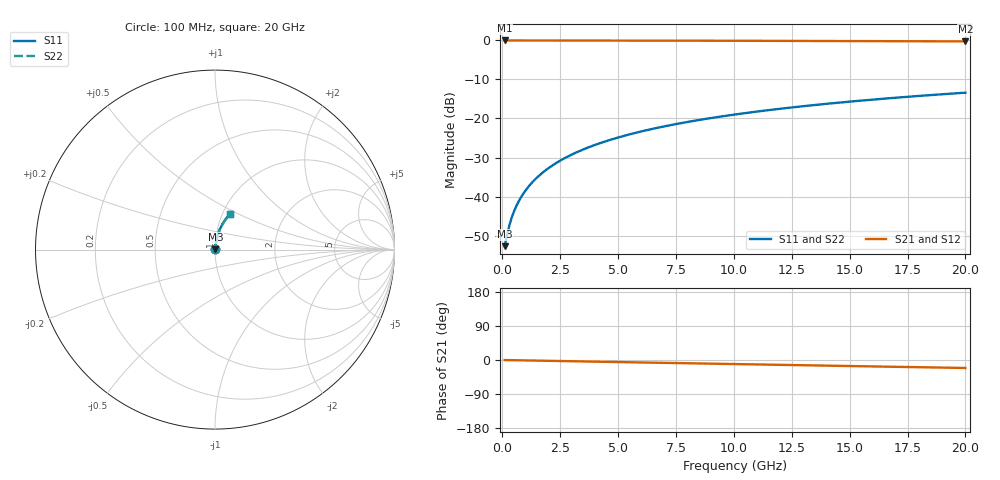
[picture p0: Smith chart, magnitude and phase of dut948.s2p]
! Touchstone file exported from HFSS 2026.1.0
!  File:  C:/ffzhzh/LocalFiles/Ansys_Project_Files/temp_train_TMRDL_948_1783158625_18472.aedt
!  Generated:  05:51:40 PM Jul  4, 2026
!  Design:  TMRDL
!  Project:  temp_train_TMRDL_948_1783158625_18472
! Variables:
!  h_bsmrdl = 2um
!  h_ox = 20um
!  h_rdl = 5um
!  h_sub = 80um
!  h_tmrdl = 2.98um
!  h_tsv = 80um
!  h_via = 3um
!  l_bsmrdl = 300um
!  l_sub = 672.37um
!  l_tmrdl = 272.37um
!  m_sub = 200um
!  pitch = 42.05um
!  r_tsv = 6um
!  s_tmrdl = 10um
!  w_bsmrdl = 18um
!  w_sub = 500um
!  w_tmrdl = 18.87um
!  x_tsv_center1 = 281.805um
!  x_tsv_center2 = 599.805um
!  x_tsv_center3 = 891.045um
!  x_tsv_center4 = 1209.045um
!  x_tsv_center5 = 1500.285um
!  x_tsv_center6 = 1818.285um
# GHz S MA R 50.000000
! Terminal data exported
! Port[1] = TM_RDL1_1_T1
! Port[2] = TM_RDL1_1_T2
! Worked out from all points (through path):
!   200 points, 100 MHz to 20 GHz, reference 50 ohm
!   highest |S21| = -0.02 dB at 100 MHz (marker M1); lowest = -0.3 dB at 20 GHz (marker M2)
!   group delay of S21, straight-line fit = 2.92 ps
!   lowest |S11| = -52.7 dB at 100 MHz (marker M3), VSWR 1.00, Z = 50.2 + j0.125 ohm
!   |S11| at or under -10 dB: start of sweep to end of sweep
!   |S22| runs from -52.7 to -13.4 dB; largest |S21 - S12| = 3e-15
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0.1  0.00232 32.6  0.998 -0.1  0.998 -0.1  0.00232 32.6
! Gamma 0 0 0 0
! Port Impedance 50 0 50 0
0.2  0.003193 50.8  0.998 -0.2  0.998 -0.2  0.003193 50.8
0.3  0.00423 60.3  0.9979 -0.3  0.9979 -0.3  0.00423 60.3
0.4  0.005313 65.7  0.9978 -0.5  0.9978 -0.5  0.005313 65.7
0.5  0.006409 69.3  0.9978 -0.6  0.9978 -0.6  0.006409 69.3
0.6  0.00751 71.8  0.9977 -0.7  0.9977 -0.7  0.00751 71.8
0.8  0.00972 75.2  0.9976 -0.9  0.9976 -0.9  0.00972 75.2
1.1  0.01306 78.1  0.9975 -1.2  0.9975 -1.2  0.01306 78.1
1.3  0.0153 79.3  0.9974 -1.4  0.9974 -1.4  0.0153 79.3
1.6  0.01868 80.5  0.9973 -1.8  0.9973 -1.8  0.01868 80.5
2.1  0.02433 81.6  0.9971 -2.3  0.9971 -2.3  0.02433 81.6
2.7  0.03113 82.1  0.9968 -2.9  0.9968 -2.9  0.03113 82.1
3.5  0.04019 82.1  0.9964 -3.8  0.9964 -3.8  0.04019 82.1
4.2  0.04809 81.9  0.9959 -4.6  0.9959 -4.6  0.04809 81.9
5  0.05709 81.4  0.9952 -5.4  0.9952 -5.4  0.05709 81.4
5.9  0.06714 80.7  0.9943 -6.4  0.9943 -6.4  0.06714 80.7
6.8  0.07713 79.9  0.9934 -7.4  0.9934 -7.4  0.07713 79.9
8.3  0.0936 78.6  0.9915 -8.9  0.9915 -8.9  0.0936 78.5
10.1  0.1131 76.8  0.989 -10.9  0.989 -10.9  0.1131 76.8
13.4  0.1479 73.6  0.9836 -14.3  0.9836 -14.3  0.1479 73.6
16.7  0.1816 70.4  0.9772 -17.7  0.9772 -17.7  0.1816 70.3
20  0.2141 67.2  0.9701 -21.0  0.9701 -21.0  0.2141 67.1
